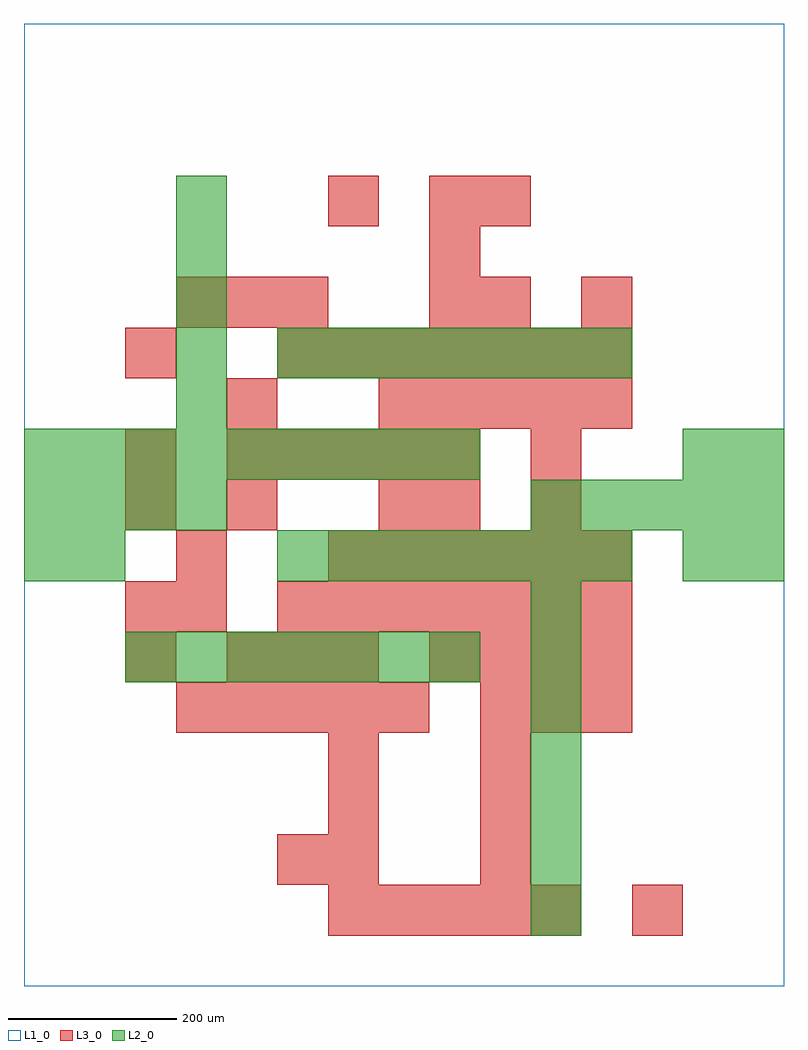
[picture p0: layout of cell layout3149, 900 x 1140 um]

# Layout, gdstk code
import gdstk
lib = gdstk.Library(unit=1e-6, precision=1e-09)
def R(c, l, rs):  # rectangles x0, y0, x1, y1
    for r in rs: c.add(gdstk.rectangle(r[:2], r[2:], *l))
def A(c, l, x, y, w, h, nx, ny, dx, dy):  # array of equal rectangles
    R(c, l, [(x+i*dx, y+j*dy, x+i*dx+w, y+j*dy+h) for i in range(nx) for j in range(ny)])
L1_0 = (1, 0)
L2_0 = (2, 0)
L3_0 = (3, 0)

layout3149 = lib.new_cell('layout3149')
R(layout3149, L1_0, [(0,0,900,1140)])
A(layout3149, L2_0, 600, 60, 60, 60, 1, 7, 0, 60)
A(layout3149, L2_0, 120, 360, 60, 60, 7, 1, 60, 0)
A(layout3149, L2_0, 300, 480, 60, 60, 7, 2, 60, 240)
A(layout3149, L2_0, 0, 540, 60, 60, 4, 1, 60, 0)
A(layout3149, L2_0, 600, 540, 60, 60, 5, 1, 60, 0)
A(layout3149, L2_0, 0, 600, 60, 60, 9, 1, 60, 0)
A(layout3149, L2_0, 180, 660, 60, 60, 1, 5, 0, 60)
R(layout3149, L2_0, [(0,480,60,540), (60,480,120,540), (780,480,840,540), (840,480,900,540), (780,600,840,660), (840,600,900,660)])
A(layout3149, L3_0, 360, 60, 60, 60, 5, 1, 60, 0)
A(layout3149, L3_0, 360, 120, 60, 60, 1, 3, 0, 60)
A(layout3149, L3_0, 540, 120, 60, 60, 1, 3, 0, 60)
A(layout3149, L3_0, 180, 300, 60, 60, 5, 1, 60, 0)
A(layout3149, L3_0, 540, 300, 60, 60, 3, 1, 60, 0)
A(layout3149, L3_0, 240, 360, 60, 60, 3, 1, 60, 0)
A(layout3149, L3_0, 480, 360, 60, 60, 4, 1, 60, 0)
A(layout3149, L3_0, 300, 420, 60, 60, 7, 2, 60, 300)
A(layout3149, L3_0, 360, 480, 60, 60, 6, 1, 60, 0)
A(layout3149, L3_0, 240, 600, 60, 60, 5, 1, 60, 0)
A(layout3149, L3_0, 420, 660, 60, 60, 5, 1, 60, 0)
A(layout3149, L3_0, 180, 780, 60, 60, 3, 1, 60, 0)
A(layout3149, L3_0, 480, 780, 60, 60, 1, 3, 0, 60)
R(layout3149, L3_0, [(720,60,780,120), (300,120,360,180), (120,360,180,420), (120,420,180,480), (180,420,240,480), (180,480,240,540), (120,540,180,600), (240,540,300,600), (420,540,480,600), (480,540,540,600), (600,540,660,600), (120,600,180,660), (600,600,660,660), (240,660,300,720), (120,720,180,780), (540,780,600,840), (660,780,720,840), (360,900,420,960), (540,900,600,960)])

lib.write_gds('layout3149.gds')
